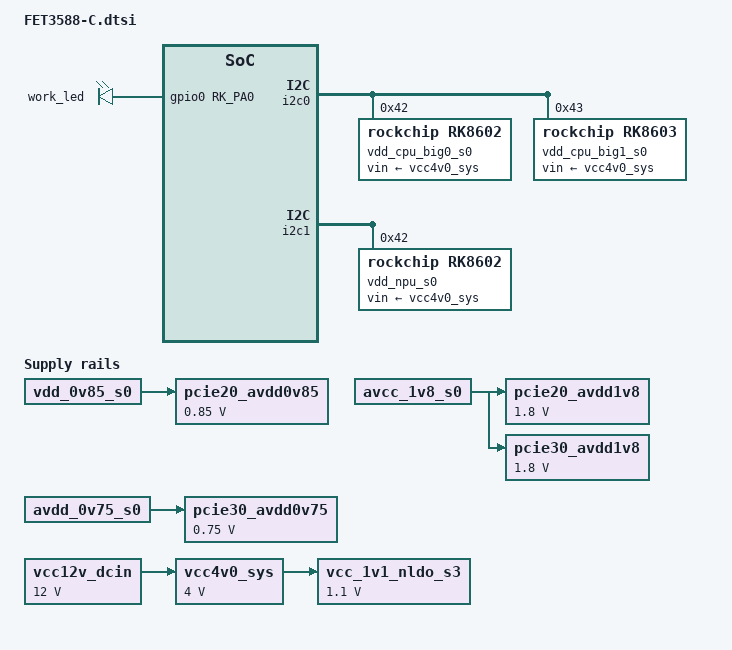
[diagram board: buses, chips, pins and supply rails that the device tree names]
#include <dt-bindings/gpio/gpio.h>
#include <dt-bindings/pinctrl/rockchip.h>

/ {
	vcc12v_dcin: vcc12v-dcin {
		compatible = "regulator-fixed";
		regulator-name = "vcc12v_dcin";
		regulator-always-on;
		regulator-boot-on;
		regulator-min-microvolt = <12000000>;
		regulator-max-microvolt = <12000000>;
	};

	vcc4v0_sys: vcc4v0-sys {
		compatible = "regulator-fixed";
		regulator-name = "vcc4v0_sys";
		regulator-always-on;
		regulator-boot-on;
		regulator-min-microvolt = <4000000>;
		regulator-max-microvolt = <4000000>;
		vin-supply = <&vcc12v_dcin>;
	};

	pcie20_avdd0v85: pcie20-avdd0v85 {
		compatible = "regulator-fixed";
		regulator-name = "pcie20_avdd0v85";
		regulator-boot-on;
		regulator-min-microvolt = <850000>;
		regulator-max-microvolt = <850000>;
		vin-supply = <&vdd_0v85_s0>;//csq
		regulator-always-on;
	};

	pcie20_avdd1v8: pcie20-avdd1v8 {
		compatible = "regulator-fixed";
		regulator-name = "pcie20_avdd1v8";
		regulator-boot-on;
		regulator-min-microvolt = <1800000>;
		regulator-max-microvolt = <1800000>;
		vin-supply = <&avcc_1v8_s0>;
		regulator-always-on;
	};

	pcie30_avdd1v8: pcie30-avdd1v8 {
		compatible = "regulator-fixed";
		regulator-name = "pcie30_avdd1v8";
		regulator-boot-on;
		regulator-always-on;
		regulator-min-microvolt = <1800000>;
		regulator-max-microvolt = <1800000>;
		vin-supply = <&avcc_1v8_s0>;
	};

	pcie30_avdd0v75: pcie30-avdd0v75 {
		compatible = "regulator-fixed";
		regulator-name = "pcie30_avdd0v75";
		regulator-boot-on;
		regulator-always-on;
		regulator-min-microvolt = <750000>;
		regulator-max-microvolt = <750000>;
		vin-supply = <&avdd_0v75_s0>;
	};

	vcc_1v1_nldo_s3: vcc-1v1-nldo-s3 {
		compatible = "regulator-fixed";
		regulator-name = "vcc_1v1_nldo_s3";
		regulator-always-on;
		regulator-boot-on;
		regulator-min-microvolt = <1100000>;
		regulator-max-microvolt = <1100000>;
		vin-supply = <&vcc4v0_sys>;
	};

	leds: leds {
		compatible = "gpio-leds";
		pinctrl-names = "default";
		pinctrl-0 =<&work_led_gpio>;
		work_led: work {
			gpios = <&gpio0 RK_PA0 GPIO_ACTIVE_HIGH>;
			linux,default-trigger = "heartbeat";
		};
	};

};

&pinctrl {
    leds_gpio {
        work_led_gpio: work-led-gpio {
            rockchip,pins = <0 RK_PA0 RK_FUNC_GPIO &pcfg_pull_none>;
        };
    };
};

&i2c0 {
	status = "okay";
	pinctrl-names = "default";
	pinctrl-0 = <&i2c0m2_xfer>;
//};
//&i2c5 {
//	status = "okay";
//	pinctrl-names = "default";
//	pinctrl-0 = <&i2c0m2_xfer>;

	vdd_cpu_big0_s0: vdd_cpu_big0_mem_s0: rk8602@42 {
		compatible = "rockchip,rk8602";
		reg = <0x42>;
		vin-supply = <&vcc4v0_sys>;
		regulator-compatible = "rk860x-reg";
		regulator-name = "vdd_cpu_big0_s0";
		regulator-min-microvolt = <550000>;
		regulator-max-microvolt = <1050000>;
		regulator-ramp-delay = <2300>;
		rockchip,suspend-voltage-selector = <1>;
		regulator-boot-on;
		regulator-always-on;
		regulator-state-mem {
			regulator-off-in-suspend;
		};
	};

	vdd_cpu_big1_s0: vdd_cpu_big1_mem_s0: rk8603@43 {
		compatible = "rockchip,rk8603";
		reg = <0x43>;
		vin-supply = <&vcc4v0_sys>;
		regulator-compatible = "rk860x-reg";
		regulator-name = "vdd_cpu_big1_s0";
		regulator-min-microvolt = <550000>;
		regulator-max-microvolt = <1050000>;
		regulator-ramp-delay = <2300>;
		rockchip,suspend-voltage-selector = <1>;
		regulator-boot-on;
		regulator-always-on;
		regulator-state-mem {
			regulator-off-in-suspend;
		};
	};
};

&i2c1 {
	status = "okay";
	pinctrl-names = "default";
	pinctrl-0 = <&i2c1m2_xfer>;

	vdd_npu_s0: vdd_npu_mem_s0: rk8602@42 {
		compatible = "rockchip,rk8602";
		reg = <0x42>;
		vin-supply = <&vcc4v0_sys>;
		regulator-compatible = "rk860x-reg";
		regulator-name = "vdd_npu_s0";
		regulator-min-microvolt = <550000>;
		regulator-max-microvolt = <950000>;
		regulator-ramp-delay = <2300>;
		rockchip,suspend-voltage-selector = <1>;
		regulator-boot-on;
		regulator-always-on;
		regulator-state-mem {
			regulator-off-in-suspend;
		};
	};
};
